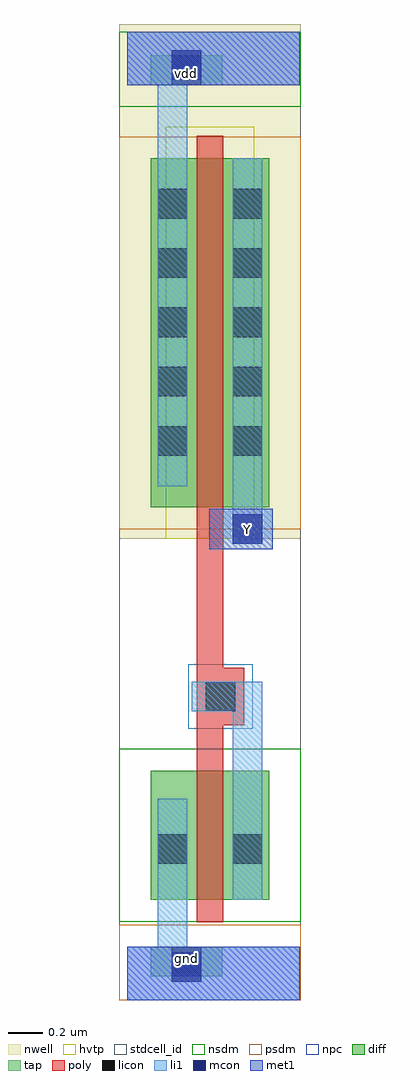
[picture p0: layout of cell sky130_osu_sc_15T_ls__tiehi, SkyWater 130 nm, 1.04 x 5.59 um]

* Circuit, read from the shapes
.subckt sky130_osu_sc_15T_ls__tiehi Y gnd vdd
XM1 n1 n1 gnd gnd sky130_fd_pr__nfet_01v8 w=0.74 l=0.15
XM2 Y n1 vdd vdd sky130_fd_pr__pfet_01v8_hvt w=2 l=0.15
.ends

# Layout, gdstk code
import gdstk
lib = gdstk.Library(unit=1e-6, precision=1e-09)
def R(c, l, rs):  # rectangles x0, y0, x1, y1
    for r in rs: c.add(gdstk.rectangle(r[:2], r[2:], *l))
def A(c, l, x, y, w, h, nx, ny, dx, dy):  # array of equal rectangles
    R(c, l, [(x+i*dx, y+j*dy, x+i*dx+w, y+j*dy+h) for i in range(nx) for j in range(ny)])
nwell = (64, 20)
diff = (65, 20)
tap = (65, 44)
poly = (66, 20)
licon = (66, 44)
li1 = (67, 20)
mcon = (67, 44)
met1 = (68, 20)
hvtp = (78, 44)
stdcell_id = (81, 4)
nsdm = (93, 44)
psdm = (94, 20)
npc = (95, 20)

sky130_osu_sc_15t_ls__ti = lib.new_cell('sky130_osu_sc_15T_ls__tiehi')
R(sky130_osu_sc_15t_ls__ti, nwell, [(-0.045,2.645,0.995,5.595)])
R(sky130_osu_sc_15t_ls__ti, diff, [(0.135,0.575,0.815,1.315), (0.135,2.825,0.815,4.825)])
R(sky130_osu_sc_15t_ls__ti, tap, [(0.135,0.135,0.545,0.305), (0.135,5.245,0.545,5.415)])
R(sky130_osu_sc_15t_ls__ti, poly, [(0.4,0.445,0.55,1.575), (0.4,1.575,0.67,1.905), (0.4,1.905,0.55,4.955)])
A(sky130_osu_sc_15t_ls__ti, licon, 0.175, 3.12, 0.17, 0.17, 1, 5, 0, 0.34)
A(sky130_osu_sc_15t_ls__ti, licon, 0.605, 3.12, 0.17, 0.17, 1, 5, 0, 0.34)
R(sky130_osu_sc_15t_ls__ti, licon, [(0.255,0.135,0.425,0.305), (0.175,0.78,0.345,0.95), (0.605,0.78,0.775,0.95), (0.45,1.655,0.62,1.825), (0.255,5.245,0.425,5.415)])
R(sky130_osu_sc_15t_ls__ti, li1, [(0,0,0.99,0.305), (0.175,0.305,0.345,1.155), (0.605,0.575,0.775,1.655), (0.37,1.655,0.775,1.825), (0.605,2.615,0.775,4.825), (0.175,2.945,0.345,5.245), (0,5.245,0.99,5.55)])
R(sky130_osu_sc_15t_ls__ti, mcon, [(0.255,0.105,0.425,0.275), (0.605,2.615,0.775,2.785), (0.255,5.275,0.425,5.445)])
R(sky130_osu_sc_15t_ls__ti, met1, [(0,0,0.99,0.305), (0.47,2.585,0.835,2.815), (0,5.245,0.99,5.55)])
R(sky130_osu_sc_15t_ls__ti, hvtp, [(0.22,2.645,0.73,5.005)])
R(sky130_osu_sc_15t_ls__ti, stdcell_id, [(-0.045,0,0.995,5.55)])
R(sky130_osu_sc_15t_ls__ti, nsdm, [(-0.045,0.45,0.995,1.44), (-0.045,5.12,0.995,5.55)])
R(sky130_osu_sc_15t_ls__ti, psdm, [(-0.045,0,0.995,0.43), (-0.045,2.7,0.995,4.95)])
R(sky130_osu_sc_15t_ls__ti, npc, [(0.35,1.555,0.72,1.925)])
sky130_osu_sc_15t_ls__ti.add(gdstk.Label('gnd', (0.34,0.24), layer=68, texttype=16))
sky130_osu_sc_15t_ls__ti.add(gdstk.Label('vdd', (0.34,5.31), layer=68, texttype=16))
sky130_osu_sc_15t_ls__ti.add(gdstk.Label('Y', (0.69,2.7), layer=68, texttype=5))

lib.write_gds('sky130_osu_sc_15T_ls__tiehi.gds')
